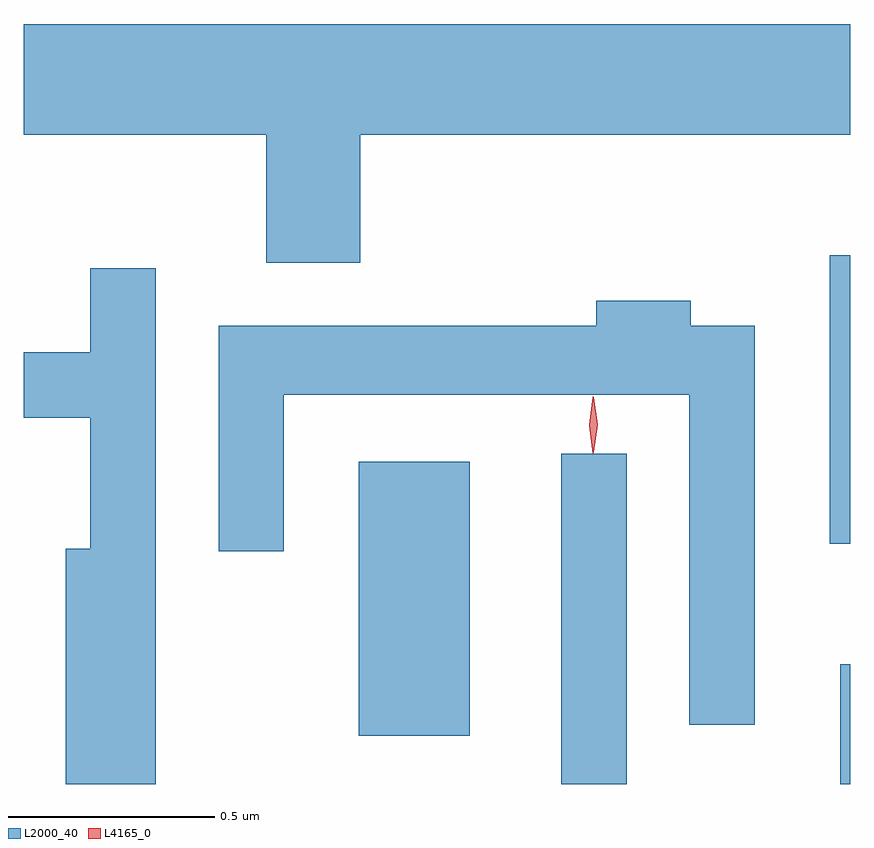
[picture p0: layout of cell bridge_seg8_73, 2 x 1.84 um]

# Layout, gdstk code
import gdstk
lib = gdstk.Library(unit=1e-6, precision=1e-09)
def R(c, l, rs):  # rectangles x0, y0, x1, y1
    for r in rs: c.add(gdstk.rectangle(r[:2], r[2:], *l))
def P(c, l, *ps):  # polygons
    for p in ps: c.add(gdstk.Polygon(p, *l))
L2000_40 = (2000, 40)
L4165_0 = (4165, 0)

bridge_seg8_73 = lib.new_cell('bridge_seg8_73')
R(bridge_seg8_73, L2000_40, [(1526.296,1821.524,1526.454,1822.323), (1526.971,1821.524,1526.995,1821.814), (1525.806,1821.641,1526.074,1822.304), (1526.946,1822.106,1526.995,1822.804)])
P(bridge_seg8_73, L2000_40, [(1525.809,1823.096),(1526.995,1823.096),(1526.995,1823.364),(1524.995,1823.364),(1524.995,1823.096),(1525.581,1823.096),(1525.581,1822.786),(1525.809,1822.786)],
  [(1525.314,1822.773),(1525.156,1822.773),(1525.156,1822.569),(1524.995,1822.569),(1524.995,1822.411),(1525.156,1822.411),(1525.156,1822.094),(1525.096,1822.094),(1525.096,1821.524),(1525.314,1821.524)],
  [(1526.764,1822.634),(1526.609,1822.634),(1526.609,1822.694),(1526.381,1822.694),(1526.381,1822.634),(1525.466,1822.634),(1525.466,1822.088),(1525.624,1822.088),(1525.624,1822.466),(1526.606,1822.466),(1526.606,1821.668),(1526.764,1821.668)])
P(bridge_seg8_73, L4165_0, [(1526.373,1822.323),(1526.372,1822.324),(1526.363,1822.393),(1526.372,1822.462),(1526.373,1822.463),(1526.373,1822.462),(1526.383,1822.393),(1526.373,1822.324)],
  [(1526.374,1822.327),(1526.374,1822.328),(1526.364,1822.394),(1526.374,1822.46),(1526.374,1822.46),(1526.375,1822.46),(1526.384,1822.394),(1526.375,1822.328)])

lib.write_gds('bridge_seg8_73.gds')
